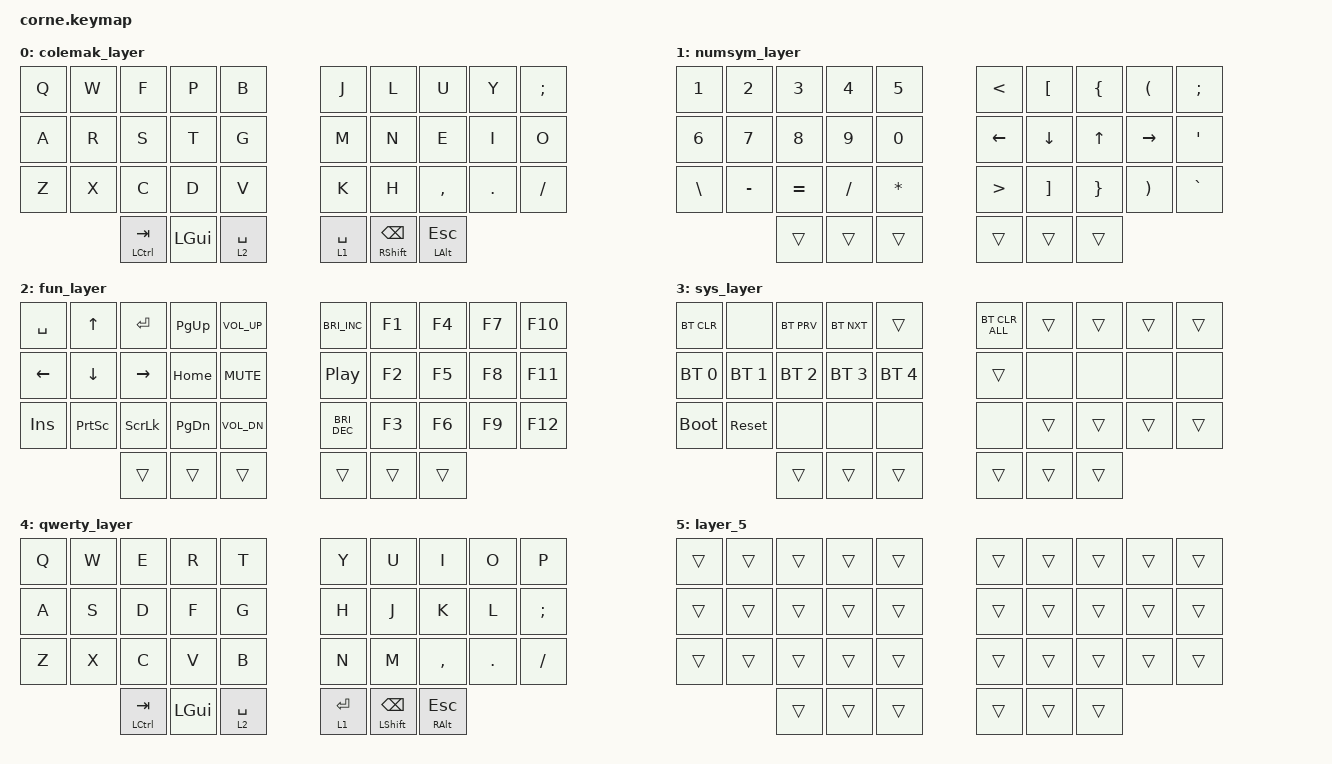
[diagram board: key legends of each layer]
/*
 * Copyright (c) 2020 The ZMK Contributors
 *
 * SPDX-License-Identifier: MIT
 */

#include <behaviors.dtsi>
#include <dt-bindings/zmk/bt.h>
#include <dt-bindings/zmk/keys.h>

&mt {
    tapping-term-ms = <400>;
    quick-tap-ms = <175>;
    require-prior-idle-ms = <150>;
    flavor = "balanced";
};

&lt { tapping-term-ms = <400>; };

/ {
    chosen { zmk,matrix_transform = &five_column_transform; };
};

// KEYMAP

/ {
    combos {
        compatible = "zmk,combos";

        combo_esc {
            timeout-ms = <50>;
            key-positions = <1 2 3>;
            bindings = <&kp ESCAPE>;
        };

        combo_tab {
            bindings = <&kp TAB>;
            key-positions = <0 1 2>;
        };

        combo_shift {
            bindings = <&kp LEFT_SHIFT>;
            key-positions = <1 2 3>;
        };

        combo_delete {
            bindings = <&kp DELETE>;
            key-positions = <6 7 8>;
        };

        combo_rshift {
            bindings = <&kp RIGHT_SHIFT>;
            key-positions = <33 34 32>;
        };

        exclm {
            bindings = <&kp EXCLAMATION>;
            key-positions = <1 11>;
        };

        at {
            bindings = <&kp AT_SIGN>;
            key-positions = <2 12>;
        };

        hash {
            bindings = <&kp HASH>;
            key-positions = <3 13>;
        };

        dllr {
            bindings = <&kp DOLLAR>;
            key-positions = <4 14>;
        };

        percnt {
            bindings = <&kp PERCENT>;
            key-positions = <5 15>;
        };

        caret {
            bindings = <&kp CARET>;
            key-positions = <6 16>;
        };

        and {
            bindings = <&kp AMPERSAND>;
            key-positions = <7 17>;
        };

        str {
            bindings = <&kp ASTERISK>;
            key-positions = <8 18>;
        };

        leftparen {
            bindings = <&kp LPAR>;
            key-positions = <0 10>;
        };

        rparen {
            bindings = <&kp RPAR>;
            key-positions = <9 19>;
        };

        layout_switch {
            bindings = <&tog 4>;
            key-positions = <25 29>;
        };

        system_reset {
            bindings = <&sys_reset>;
            key-positions = <3 4 5 14 15 6>;
        };

        system_layer_combo {
            bindings = <&tog 3>;
            key-positions = <20 24>;
        };

        combo_return {
            bindings = <&kp RETURN>;
            key-positions = <15 16>;
        };

        combo_lt {
            bindings = <&kp LT>;
            key-positions = <11 13>;
        };

        combo_gt {
            bindings = <&kp GT>;
            key-positions = <16 18>;
        };

        combo_del {
            bindings = <&kp DEL>;
            key-positions = <13 14>;
        };
    };

    conditional_layers { compatible = "zmk,conditional-layers"; };

    keymap {
        compatible = "zmk,keymap";

        colemak_layer {
            bindings = <
  &kp Q  &kp W  &kp F          &kp P     &kp B          &kp J        &kp L                      &kp U             &kp Y    &kp SEMICOLON
  &kp A  &kp R  &kp S          &kp T     &kp G          &kp M        &kp N                      &kp E             &kp I    &kp O
  &kp Z  &kp X  &kp C          &kp D     &kp V          &kp K        &kp H                      &kp COMMA         &kp DOT  &kp FSLH
                &mt LCTRL TAB  &kp LGUI  &lt 2 SPACE    &lt 1 SPACE  &mt RIGHT_SHIFT BACKSPACE  &mt LEFT_ALT ESC
            >;
        };

        numsym_layer {
            bindings = <
  &kp N1         &kp N2     &kp N3     &kp N4     &kp N5          &kp LESS_THAN     &kp LEFT_BRACKET   &kp LEFT_BRACE   &kp LEFT_PARENTHESIS   &kp SEMICOLON
  &kp NUMBER_6   &kp N7     &kp N8     &kp N9     &kp NUMBER_0    &kp LEFT          &kp DOWN           &kp UP           &kp RIGHT              &kp SQT
  &kp BACKSLASH  &kp MINUS  &kp EQUAL  &kp SLASH  &kp ASTERISK    &kp GREATER_THAN  &kp RIGHT_BRACKET  &kp RIGHT_BRACE  &kp RIGHT_PARENTHESIS  &kp GRAVE
                            &trans     &trans     &trans          &trans            &trans             &trans
            >;
        };

        fun_layer {
            bindings = <
  &kp SPACE  &kp UP_ARROW     &kp ENTER       &kp PAGE_UP    &kp C_VOL_UP    &kp C_BRIGHTNESS_INC  &kp F1  &kp F4  &kp F7  &kp F10
  &kp LEFT   &kp DOWN         &kp RIGHT       &kp HOME       &kp C_MUTE      &kp C_PLAY_PAUSE      &kp F2  &kp F5  &kp F8  &kp F11
  &kp INS    &kp PRINTSCREEN  &kp SCROLLLOCK  &kp PAGE_DOWN  &kp C_VOL_DN    &kp C_BRIGHTNESS_DEC  &kp F3  &kp F6  &kp F9  &kp F12
                              &trans          &trans         &trans          &trans                &trans  &trans
            >;
        };

        sys_layer {
            bindings = <
  &bt BT_CLR    &none         &bt BT_PRV    &bt BT_NXT    &trans          &bt BT_CLR_ALL  &trans  &trans  &trans  &trans
  &bt BT_SEL 0  &bt BT_SEL 1  &bt BT_SEL 2  &bt BT_SEL 3  &bt BT_SEL 4    &trans          &none   &none   &none   &none
  &bootloader   &sys_reset    &none         &none         &none           &none           &trans  &trans  &trans  &trans
                              &trans        &trans        &trans          &trans          &trans  &trans
            >;
        };

        qwerty_layer {
            bindings = <
  &kp Q  &kp W  &kp E          &kp R         &kp T          &kp Y        &kp U                     &kp I              &kp O    &kp P
  &kp A  &kp S  &kp D          &kp F         &kp G          &kp H        &kp J                     &kp K              &kp L    &kp SEMI
  &kp Z  &kp X  &kp C          &kp V         &kp B          &kp N        &kp M                     &kp COMMA          &kp DOT  &kp FSLH
                &mt LCTRL TAB  &kp LEFT_GUI  &lt 2 SPACE    &lt 1 ENTER  &mt LEFT_SHIFT BACKSPACE  &mt RIGHT_ALT ESC
            >;
        };

        layer_5 {
            bindings = <
  &trans  &trans  &trans  &trans  &trans    &trans  &trans  &trans  &trans  &trans
  &trans  &trans  &trans  &trans  &trans    &trans  &trans  &trans  &trans  &trans
  &trans  &trans  &trans  &trans  &trans    &trans  &trans  &trans  &trans  &trans
                  &trans  &trans  &trans    &trans  &trans  &trans
            >;
        };
    };
};
